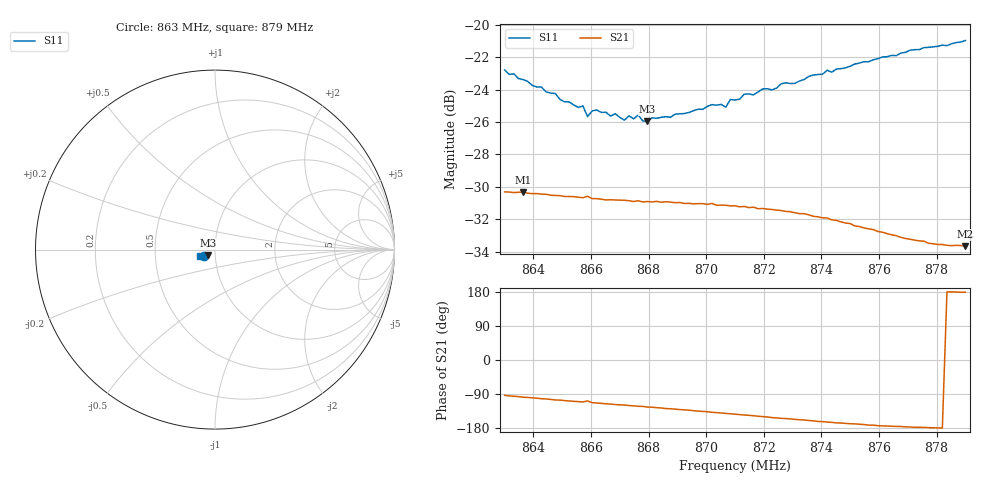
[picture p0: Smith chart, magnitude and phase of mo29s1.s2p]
# HZ S RI R 50
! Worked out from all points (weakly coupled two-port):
!   101 points, 863 MHz to 879 MHz, reference 50 ohm
!   highest |S21| = -30.32 dB at 863.64 MHz (marker M1); lowest = -33.7 dB at 879 MHz (marker M2)
!   lowest |S11| = -26.0 dB at 867.96 MHz (marker M3), VSWR 1.11, Z = 46.2 - j3.01 ohm
!   |S11| at or under -10 dB: start of sweep to end of sweep
!   S12 and S22 are empty: the file has one direction only
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8.63e8  -0.0641 -0.0339  -0.00174 -0.0304  0 0  0 0
8.6364e8  -0.0598 -0.0318  -0.00439 -0.0302  0 0  0 0
8.6476e8  -0.0536 -0.0299  -0.00797 -0.0286  0 0  0 0
8.6508e8  -0.0488 -0.0309  -0.00865 -0.0282  0 0  0 0
8.6572e8  -0.0478 -0.0295  -0.0104 -0.0274  0 0  0 0
8.6588e8  -0.0428 -0.0296  -0.00908 -0.0281  0 0  0 0
8.662e8  -0.0455 -0.03  -0.0115 -0.0267  0 0  0 0
8.6668e8  -0.0424 -0.0305  -0.0127 -0.0259  0 0  0 0
8.6684e8  -0.0428 -0.0315  -0.0133 -0.0255  0 0  0 0
8.6716e8  -0.0403 -0.0309  -0.0138 -0.0252  0 0  0 0
8.6764e8  -0.0405 -0.0336  -0.0152 -0.0242  0 0  0 0
8.6796e8  -0.0385 -0.0325  -0.0161 -0.0235  0 0  0 0
8.6844e8  -0.0382 -0.035  -0.0169 -0.0227  0 0  0 0
8.702e8  -0.0382 -0.0419  -0.0209 -0.0188  0 0  0 0
8.7068e8  -0.0369 -0.0416  -0.0215 -0.0175  0 0  0 0
8.7084e8  -0.0403 -0.0428  -0.0217 -0.017  0 0  0 0
8.71e8  -0.039 -0.0437  -0.022 -0.0167  0 0  0 0
8.7132e8  -0.0409 -0.0453  -0.0226 -0.0157  0 0  0 0
8.7228e8  -0.0427 -0.0462  -0.0237 -0.0127  0 0  0 0
8.7372e8  -0.0494 -0.0495  -0.0242 -0.00854  0 0  0 0
8.7644e8  -0.0654 -0.0468  -0.0224 -0.00202  0 0  0 0
8.79e8  -0.0822 -0.0352  -0.0207 0.000447  0 0  0 0
